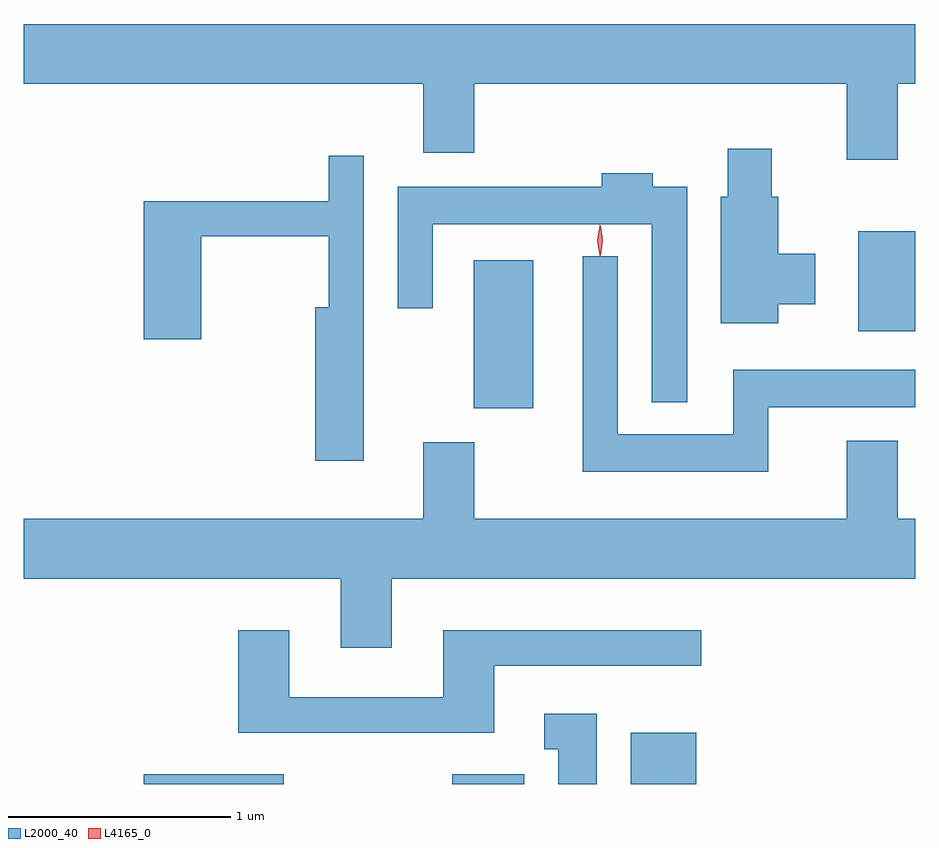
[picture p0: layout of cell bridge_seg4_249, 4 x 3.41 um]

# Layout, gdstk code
import gdstk
lib = gdstk.Library(unit=1e-6, precision=1e-09)
def R(c, l, rs):  # rectangles x0, y0, x1, y1
    for r in rs: c.add(gdstk.rectangle(r[:2], r[2:], *l))
def P(c, l, *ps):  # polygons
    for p in ps: c.add(gdstk.Polygon(p, *l))
L2000_40 = (2000, 40)
L4165_0 = (4165, 0)

bridge_seg4_249 = lib.new_cell('bridge_seg4_249')
R(bridge_seg4_249, L2000_40, [(621.526,1327.115,622.154,1327.159), (622.911,1327.115,623.234,1327.159), (623.711,1327.115,624.004,1327.344), (623.006,1328.801,623.274,1329.464), (624.731,1329.146,624.988,1329.594)])
P(bridge_seg4_249, L2000_40, [(620.988,1330.256),(622.781,1330.256),(622.781,1329.946),(623.009,1329.946),(623.009,1330.256),(624.681,1330.256),(624.681,1329.916),(624.909,1329.916),(624.909,1330.256),(624.988,1330.256),(624.988,1330.524),(620.988,1330.524)],
  [(624.374,1329.266),(624.539,1329.266),(624.539,1329.494),(624.374,1329.494),(624.374,1329.749),(624.344,1329.749),(624.344,1329.964),(624.146,1329.964),(624.146,1329.749),(624.116,1329.749),(624.116,1329.181),(624.374,1329.181)],
  [(622.514,1329.933),(622.356,1329.933),(622.356,1329.729),(621.526,1329.729),(621.526,1329.111),(621.784,1329.111),(621.784,1329.571),(622.356,1329.571),(622.356,1329.254),(622.296,1329.254),(622.296,1328.566),(622.514,1328.566)],
  [(623.964,1329.794),(623.809,1329.794),(623.809,1329.854),(623.581,1329.854),(623.581,1329.794),(622.666,1329.794),(622.666,1329.248),(622.824,1329.248),(622.824,1329.626),(623.806,1329.626),(623.806,1328.828),(623.964,1328.828)],
  [(624.329,1328.806),(624.988,1328.806),(624.988,1328.974),(624.171,1328.974),(624.171,1328.684),(623.654,1328.684),(623.654,1329.483),(623.496,1329.483),(623.496,1328.516),(624.329,1328.516)],
  [(622.639,1328.036),(624.988,1328.036),(624.988,1328.304),(624.909,1328.304),(624.909,1328.654),(624.681,1328.654),(624.681,1328.304),(623.009,1328.304),(623.009,1328.649),(622.781,1328.649),(622.781,1328.304),(620.988,1328.304),(620.988,1328.036),(622.411,1328.036),(622.411,1327.726),(622.639,1327.726)],
  [(623.099,1327.646),(624.028,1327.646),(624.028,1327.804),(622.871,1327.804),(622.871,1327.504),(622.179,1327.504),(622.179,1327.804),(621.951,1327.804),(621.951,1327.346),(623.099,1327.346)],
  [(623.559,1327.429),(623.323,1327.429),(623.323,1327.271),(623.386,1327.271),(623.386,1327.115),(623.559,1327.115)])
P(bridge_seg4_249, L4165_0, [(623.572,1329.484),(623.572,1329.484),(623.562,1329.553),(623.572,1329.622),(623.572,1329.623),(623.573,1329.622),(623.582,1329.553),(623.573,1329.484)],
  [(623.575,1329.487),(623.575,1329.487),(623.566,1329.554),(623.575,1329.62),(623.576,1329.62),(623.576,1329.62),(623.585,1329.554),(623.576,1329.487)])

lib.write_gds('bridge_seg4_249.gds')
